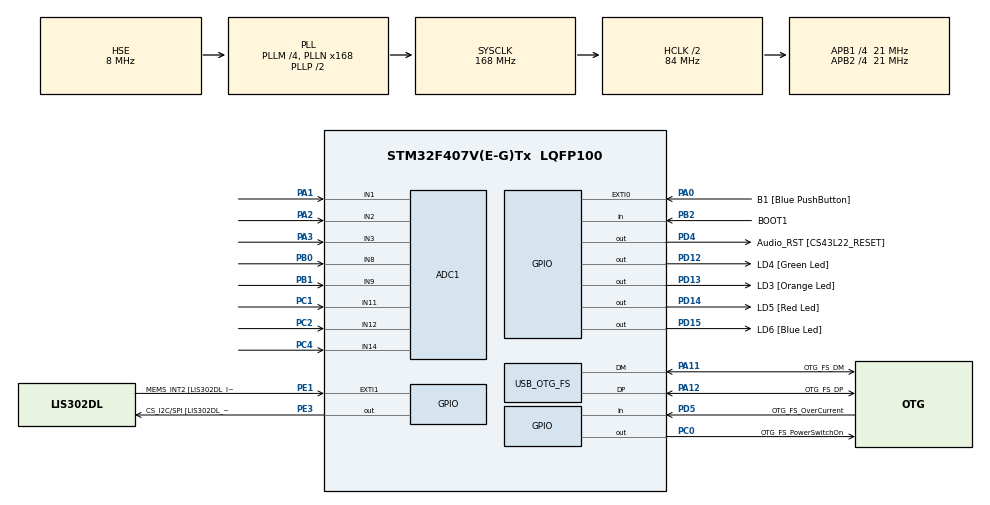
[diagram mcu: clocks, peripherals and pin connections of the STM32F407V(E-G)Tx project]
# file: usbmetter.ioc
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ADC1.Channel-10\#ChannelRegularConversion=ADC_CHANNEL_14
ADC1.Channel-3\#ChannelRegularConversion=ADC_CHANNEL_1
ADC1.Channel-4\#ChannelRegularConversion=ADC_CHANNEL_2
ADC1.Channel-5\#ChannelRegularConversion=ADC_CHANNEL_3
ADC1.Channel-6\#ChannelRegularConversion=ADC_CHANNEL_8
ADC1.Channel-7\#ChannelRegularConversion=ADC_CHANNEL_9
ADC1.Channel-8\#ChannelRegularConversion=ADC_CHANNEL_11
ADC1.Channel-9\#ChannelRegularConversion=ADC_CHANNEL_12
ADC1.ClockPrescaler=ADC_CLOCK_SYNC_PCLK_DIV8
ADC1.ContinuousConvMode=DISABLE
ADC1.EOCSelection=ADC_EOC_SINGLE_CONV
ADC1.NbrOfConversion=8
ADC1.NbrOfConversionFlag=1
ADC1.Rank-10\#ChannelRegularConversion=8
ADC1.Rank-3\#ChannelRegularConversion=1
ADC1.Rank-4\#ChannelRegularConversion=2
ADC1.Rank-5\#ChannelRegularConversion=3
ADC1.Rank-6\#ChannelRegularConversion=4
ADC1.Rank-7\#ChannelRegularConversion=5
ADC1.Rank-8\#ChannelRegularConversion=6
ADC1.Rank-9\#ChannelRegularConversion=7
ADC1.SamplingTime-10\#ChannelRegularConversion=ADC_SAMPLETIME_84CYCLES
ADC1.SamplingTime-3\#ChannelRegularConversion=ADC_SAMPLETIME_84CYCLES
ADC1.SamplingTime-4\#ChannelRegularConversion=ADC_SAMPLETIME_84CYCLES
ADC1.SamplingTime-5\#ChannelRegularConversion=ADC_SAMPLETIME_84CYCLES
ADC1.SamplingTime-6\#ChannelRegularConversion=ADC_SAMPLETIME_84CYCLES
ADC1.SamplingTime-7\#ChannelRegularConversion=ADC_SAMPLETIME_84CYCLES
ADC1.SamplingTime-8\#ChannelRegularConversion=ADC_SAMPLETIME_84CYCLES
ADC1.SamplingTime-9\#ChannelRegularConversion=ADC_SAMPLETIME_84CYCLES
ADC1.master=1
Mcu.Family=STM32F4
Mcu.Name=STM32F407V(E-G)Tx
Mcu.Package=LQFP100
NVIC.ADC_IRQn=true\:0\:0\:false\:false\:true\:true\:true\:true
NVIC.OTG_FS_IRQn=true\:0\:0\:false\:false\:true\:false\:true\:true
NVIC.PriorityGroup=NVIC_PRIORITYGROUP_0
PA0-WKUP.GPIO_Label=B1 [Blue PushButton]
PA0-WKUP.Signal=GPXTI0
PA1.Signal=ADCx_IN1
PA10.GPIO_Label=OTG_FS_ID
PA10.GPIO_Mode=GPIO_MODE_AF_PP
PA10.GPIO_PuPd=GPIO_NOPULL
PA10.GPIO_Speed=GPIO_SPEED_FREQ_LOW
PA10.Signal=USB_OTG_FS_ID
PA11.GPIO_Label=OTG_FS_DM
PA11.GPIO_Mode=GPIO_MODE_AF_PP
PA11.GPIO_PuPd=GPIO_NOPULL
PA11.GPIO_Speed=GPIO_SPEED_FREQ_LOW
PA11.Mode=Device_Only
PA11.Signal=USB_OTG_FS_DM
PA12.GPIO_Label=OTG_FS_DP
PA12.GPIO_Mode=GPIO_MODE_AF_PP
PA12.GPIO_PuPd=GPIO_NOPULL
PA12.GPIO_Speed=GPIO_SPEED_FREQ_LOW
PA12.Mode=Device_Only
PA12.Signal=USB_OTG_FS_DP
PA13.GPIO_Label=SWDIO
PA13.Signal=SYS_JTMS-SWDIO
PA14.GPIO_Label=SWCLK
PA14.Signal=SYS_JTCK-SWCLK
PA2.Signal=ADCx_IN2
PA3.Signal=ADCx_IN3
PA4.GPIO_Label=I2S3_WS [CS43L22_LRCK]
PA4.GPIO_Mode=GPIO_MODE_AF_PP
PA4.GPIO_PuPd=GPIO_NOPULL
PA4.GPIO_Speed=GPIO_SPEED_FREQ_LOW
PA4.Signal=I2S3_WS
PA5.GPIO_Label=SPI1_SCK [LIS302DL_SCL/SPC]
PA5.GPIO_Mode=GPIO_MODE_AF_PP
PA5.GPIO_PuPd=GPIO_NOPULL
PA5.GPIO_Speed=GPIO_SPEED_FREQ_LOW
PA5.Signal=SPI1_SCK
PA6.GPIO_Label=SPI1_MISO [LIS302DL_SDO]
PA6.GPIO_Mode=GPIO_MODE_AF_PP
PA6.GPIO_PuPd=GPIO_NOPULL
PA6.GPIO_Speed=GPIO_SPEED_FREQ_LOW
PA6.Signal=SPI1_MISO
PA7.GPIO_Label=SPI1_MOSI [LIS302DL_SDA/SDI/SDO]
PA7.GPIO_Mode=GPIO_MODE_AF_PP
PA7.GPIO_PuPd=GPIO_NOPULL
PA7.GPIO_Speed=GPIO_SPEED_FREQ_LOW
PA7.Signal=SPI1_MOSI
PA9.GPIO_Label=VBUS_FS
PA9.GPIO_Mode=GPIO_MODE_INPUT
PA9.GPIO_PuPd=GPIO_NOPULL
PA9.Signal=USB_OTG_FS_VBUS
PB0.Signal=ADCx_IN8
PB1.Signal=ADCx_IN9
PB10.GPIO_Label=CLK_IN [MP45DT02_CLK]
PB10.GPIO_Mode=GPIO_MODE_AF_PP
PB10.GPIO_PuPd=GPIO_NOPULL
PB10.GPIO_Speed=GPIO_SPEED_FREQ_LOW
PB10.Signal=I2S2_CK
PB2.GPIO_Label=BOOT1
PB2.GPIO_Mode=GPIO_MODE_INPUT
PB2.GPIO_PuPd=GPIO_NOPULL
PB2.Signal=GPIO_Input
PB3.GPIO_Label=SWO
PB3.Signal=SYS_JTDO-SWO
PB6.GPIO_Label=Audio_SCL [CS43L22_SCL]
PB6.GPIO_Mode=GPIO_MODE_AF_OD
PB6.GPIO_PuPd=GPIO_NOPULL
PB6.GPIO_Speed=GPIO_SPEED_FREQ_LOW
PB6.Signal=I2C1_SCL
PB9.GPIO_Label=Audio_SDA [CS43L22_SDA]
PB9.GPIO_Mode=GPIO_MODE_AF_OD
PB9.GPIO_PuPd=GPIO_NOPULL
PB9.GPIO_Speed=GPIO_SPEED_FREQ_LOW
PB9.Signal=I2C1_SDA
PC0.GPIO_Label=OTG_FS_PowerSwitchOn
PC0.GPIO_PuPd=GPIO_NOPULL
PC0.GPIO_Speed=GPIO_SPEED_FREQ_LOW
PC0.PinState=GPIO_PIN_SET
PC0.Signal=GPIO_Output
PC1.Signal=ADCx_IN11
PC10.GPIO_Label=I2S3_SCK [CS43L22_SCLK]
PC10.GPIO_Mode=GPIO_MODE_AF_PP
PC10.GPIO_PuPd=GPIO_NOPULL
PC10.GPIO_Speed=GPIO_SPEED_FREQ_LOW
PC10.Signal=I2S3_CK
PC12.GPIO_Label=I2S3_SD [CS43L22_SDIN]
PC12.GPIO_Mode=GPIO_MODE_AF_PP
PC12.GPIO_PuPd=GPIO_NOPULL
PC12.GPIO_Speed=GPIO_SPEED_FREQ_LOW
PC12.Signal=I2S3_SD
PC14-OSC32_IN.GPIO_Label=PC14-OSC32_IN
PC14-OSC32_IN.Signal=RCC_OSC32_IN
PC15-OSC32_OUT.GPIO_Label=PC15-OSC32_OUT
PC15-OSC32_OUT.Signal=RCC_OSC32_OUT
PC2.Signal=ADCx_IN12
PC3.GPIO_Label=PDM_OUT [MP45DT02_DOUT]
PC3.GPIO_Mode=GPIO_MODE_AF_PP
PC3.GPIO_PuPd=GPIO_NOPULL
PC3.GPIO_Speed=GPIO_SPEED_FREQ_LOW
PC3.Signal=I2S2_SD
PC4.Signal=ADCx_IN14
PC7.GPIO_Label=I2S3_MCK [CS43L22_MCLK]
PC7.GPIO_Mode=GPIO_MODE_AF_PP
PC7.GPIO_PuPd=GPIO_NOPULL
PC7.GPIO_Speed=GPIO_SPEED_FREQ_LOW
PC7.Signal=I2S3_MCK
PD12.GPIO_Label=LD4 [Green Led]
PD12.GPIO_PuPd=GPIO_NOPULL
PD12.GPIO_Speed=GPIO_SPEED_FREQ_LOW
PD12.Signal=GPIO_Output
PD13.GPIO_Label=LD3 [Orange Led]
PD13.GPIO_PuPd=GPIO_NOPULL
PD13.GPIO_Speed=GPIO_SPEED_FREQ_LOW
PD13.Signal=GPIO_Output
PD14.GPIO_Label=LD5 [Red Led]
PD14.GPIO_PuPd=GPIO_NOPULL
PD14.GPIO_Speed=GPIO_SPEED_FREQ_LOW
PD14.Signal=GPIO_Output
PD15.GPIO_Label=LD6 [Blue Led]
PD15.GPIO_PuPd=GPIO_NOPULL
PD15.GPIO_Speed=GPIO_SPEED_FREQ_LOW
PD15.Signal=GPIO_Output
PD4.GPIO_Label=Audio_RST [CS43L22_RESET]
PD4.GPIO_PuPd=GPIO_NOPULL
PD4.GPIO_Speed=GPIO_SPEED_FREQ_LOW
PD4.Signal=GPIO_Output
PD5.GPIO_Label=OTG_FS_OverCurrent
PD5.GPIO_Mode=GPIO_MODE_INPUT
PD5.GPIO_PuPd=GPIO_NOPULL
PD5.Signal=GPIO_Input
PE1.GPIO_Label=MEMS_INT2 [LIS302DL_INT2]
PE1.GPIO_ModeDefaultEXTI=GPIO_MODE_EVT_RISING
PE1.GPIO_PuPd=GPIO_NOPULL
PE1.Signal=GPXTI1
PE3.GPIO_Label=CS_I2C/SPI [LIS302DL_CS_I2C/SPI]
PE3.GPIO_PuPd=GPIO_NOPULL
PE3.GPIO_Speed=GPIO_SPEED_FREQ_LOW
PE3.Signal=GPIO_Output
PH0-OSC_IN.GPIO_Label=PH0-OSC_IN
PH0-OSC_IN.Mode=HSE-External-Oscillator
PH0-OSC_IN.Signal=RCC_OSC_IN
PH1-OSC_OUT.GPIO_Label=PH1-OSC_OUT
PH1-OSC_OUT.Mode=HSE-External-Oscillator
PH1-OSC_OUT.Signal=RCC_OSC_OUT
ProjectManager.HeapSize=0x200
ProjectManager.StackSize=0x400
ProjectManager.TargetToolchain=STM32CubeIDE
RCC.48MHZClocksFreq_Value=48000000
RCC.AHBCLKDivider=RCC_SYSCLK_DIV2
RCC.AHBFreq_Value=84000000
RCC.APB1CLKDivider=RCC_HCLK_DIV4
RCC.APB1Freq_Value=21000000
RCC.APB1TimFreq_Value=42000000
RCC.APB2CLKDivider=RCC_HCLK_DIV4
RCC.APB2Freq_Value=21000000
RCC.APB2TimFreq_Value=42000000
RCC.CortexFreq_Value=84000000
RCC.HCLKFreq_Value=84000000
RCC.HSE_VALUE=8000000
RCC.HSI_VALUE=16000000
RCC.LSE_VALUE=32768
RCC.PLLM=4
RCC.PLLN=168
RCC.PLLQ=7
RCC.SYSCLKFreq_VALUE=168000000
RCC.SYSCLKSource=RCC_SYSCLKSOURCE_PLLCLK
RCC.VCOOutputFreq_Value=336000000
SH.ADCx_IN1.0=ADC1_IN1,IN1
SH.ADCx_IN11.0=ADC1_IN11,IN11
SH.ADCx_IN12.0=ADC1_IN12,IN12
SH.ADCx_IN14.0=ADC1_IN14,IN14
SH.ADCx_IN2.0=ADC1_IN2,IN2
SH.ADCx_IN3.0=ADC1_IN3,IN3
SH.ADCx_IN8.0=ADC1_IN8,IN8
SH.ADCx_IN9.0=ADC1_IN9,IN9
USB_DEVICE.CLASS_NAME_FS=CDC
USB_DEVICE.USBD_SELF_POWERED-CDC_FS=0
USB_DEVICE.VirtualMode-CDC_FS=Cdc
USB_DEVICE.VirtualModeFS=Cdc_FS
USB_OTG_FS.VirtualMode=Device_Only
VP_USB_DEVICE_VS_USB_DEVICE_CDC_FS.Mode=CDC_FS
board=STM32F407G-DISC1

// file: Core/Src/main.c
/* USER CODE BEGIN Header */
/**
  ******************************************************************************
  * @file           : main.c
  * @brief          : Main program body
  ******************************************************************************
  * @attention
  *
  * Copyright (c) 2024 STMicroelectronics.
  * All rights reserved.
  *
  * This software is licensed under terms that can be found in the LICENSE file
  * in the root directory of this software component.
  * If no LICENSE file comes with this software, it is provided AS-IS.
  *
  ******************************************************************************
  */
/* USER CODE END Header */
#include "main.h"
#include "usb_device.h"

/* USER CODE BEGIN Includes */
#include <stdbool.h>
#include "usbd_cdc_if.h"
/* USER CODE END Includes */

ADC_HandleTypeDef hadc1;

void SystemClock_Config(void);
static void MX_GPIO_Init(void);
static void MX_ADC1_Init(void);

/* USER CODE BEGIN 0 */

static uint32_t tick_hi = 0;
static uint32_t tick_prev = 0;
static uint64_t tick64;
static const uint64_t PERIOD = 1000;
static bool is_update = false;
static volatile uint32_t samples[8];
static volatile int sample_index;

static void calc_time() {
	uint32_t tick = HAL_GetTick();
	if (tick < tick_prev) {
		tick_hi++;
	}
	tick_prev = tick;
	uint64_t v = ((uint64_t)tick_hi << 32) | (uint64_t)tick_prev;
	is_update = (v / PERIOD) != (tick64 / PERIOD);
	tick64 = v;
}

uint32_t HAL_ADC_GetValue(ADC_HandleTypeDef* hadc);

void HAL_ADC_ConvCpltCallback(ADC_HandleTypeDef* hadc)
{
	int index = sample_index;
	samples[index] += HAL_ADC_GetValue(hadc);
	sample_index = index + 1;
}
/* USER CODE END 0 */

int main(void)
{

  /* MCU Configuration--------------------------------------------------------*/

  /* Reset of all peripherals, Initializes the Flash interface and the Systick. */
  HAL_Init();

  /* Configure the system clock */
  SystemClock_Config();

  /* Initialize all configured peripherals */
  MX_GPIO_Init();
  MX_USB_DEVICE_Init();
  MX_ADC1_Init();

  /* Infinite loop */
  /* USER CODE BEGIN WHILE */
  while (1)
  {
	calc_time();
	if (is_update) {
		static char buffer[128];
		char* ptr = buffer;
		uint32_t start = HAL_GetTick();
		for (int i = 0; i < sizeof(samples) / sizeof(samples[0]); i++) {
			samples[i] = 0;
		}
		memset((void*)samples, 0, sizeof(samples));
		for (int i = 0; i < 16; i++) {
			HAL_ADC_PollForConversion(&hadc1, 10);
			sample_index = 0;
			HAL_ADC_Start_IT(&hadc1);
			while (sample_index < 8) {
				__WFI();
			}
		}
		uint32_t end = HAL_GetTick();
		//ptr += sprintf(ptr, "Test %d   %d   %d\r\n", (int)tick64, sample_index, (int)(end - start));
		for (int i = 0; i < sample_index; i++) {
			ptr += sprintf(ptr, "%d, ", (int)samples[i]);
		}
		strcat(ptr, "\r\n");
		CDC_Transmit_FS((uint8_t*)buffer, strlen(buffer));
	} else {
		__WFI();
	}
    /* USER CODE END WHILE */

  }
}

void SystemClock_Config(void)
{
  RCC_OscInitTypeDef RCC_OscInitStruct = {0};
  RCC_ClkInitTypeDef RCC_ClkInitStruct = {0};

  /** Configure the main internal regulator output voltage
  */
  __HAL_RCC_PWR_CLK_ENABLE();
  __HAL_PWR_VOLTAGESCALING_CONFIG(PWR_REGULATOR_VOLTAGE_SCALE1);

  /** Initializes the RCC Oscillators according to the specified parameters
  * in the RCC_OscInitTypeDef structure.
  */
  RCC_OscInitStruct.OscillatorType = RCC_OSCILLATORTYPE_HSE;
  RCC_OscInitStruct.HSEState = RCC_HSE_ON;
  RCC_OscInitStruct.PLL.PLLState = RCC_PLL_ON;
  RCC_OscInitStruct.PLL.PLLSource = RCC_PLLSOURCE_HSE;
  RCC_OscInitStruct.PLL.PLLM = 4;
  RCC_OscInitStruct.PLL.PLLN = 168;
  RCC_OscInitStruct.PLL.PLLP = RCC_PLLP_DIV2;
  RCC_OscInitStruct.PLL.PLLQ = 7;
  if (HAL_RCC_OscConfig(&RCC_OscInitStruct) != HAL_OK)
  {
    Error_Handler();
  }

  /** Initializes the CPU, AHB and APB buses clocks
  */
  RCC_ClkInitStruct.ClockType = RCC_CLOCKTYPE_HCLK|RCC_CLOCKTYPE_SYSCLK
                              |RCC_CLOCKTYPE_PCLK1|RCC_CLOCKTYPE_PCLK2;
  RCC_ClkInitStruct.SYSCLKSource = RCC_SYSCLKSOURCE_PLLCLK;
  RCC_ClkInitStruct.AHBCLKDivider = RCC_SYSCLK_DIV2;
  RCC_ClkInitStruct.APB1CLKDivider = RCC_HCLK_DIV4;
  RCC_ClkInitStruct.APB2CLKDivider = RCC_HCLK_DIV4;

  if (HAL_RCC_ClockConfig(&RCC_ClkInitStruct, FLASH_LATENCY_2) != HAL_OK)
  {
    Error_Handler();
  }
}

static void MX_ADC1_Init(void)
{

  ADC_ChannelConfTypeDef sConfig = {0};

  /** Configure the global features of the ADC (Clock, Resolution, Data Alignment and number of conversion)
  */
  hadc1.Instance = ADC1;
  hadc1.Init.ClockPrescaler = ADC_CLOCK_SYNC_PCLK_DIV8;
  hadc1.Init.Resolution = ADC_RESOLUTION_12B;
  hadc1.Init.ScanConvMode = ENABLE;
  hadc1.Init.ContinuousConvMode = DISABLE;
  hadc1.Init.DiscontinuousConvMode = DISABLE;
  hadc1.Init.ExternalTrigConvEdge = ADC_EXTERNALTRIGCONVEDGE_NONE;
  hadc1.Init.ExternalTrigConv = ADC_SOFTWARE_START;
  hadc1.Init.DataAlign = ADC_DATAALIGN_RIGHT;
  hadc1.Init.NbrOfConversion = 8;
  hadc1.Init.DMAContinuousRequests = DISABLE;
  hadc1.Init.EOCSelection = ADC_EOC_SINGLE_CONV;
  if (HAL_ADC_Init(&hadc1) != HAL_OK)
  {
    Error_Handler();
  }

  /** Configure for the selected ADC regular channel its corresponding rank in the sequencer and its sample time.
  */
  sConfig.Channel = ADC_CHANNEL_1;
  sConfig.Rank = 1;
  sConfig.SamplingTime = ADC_SAMPLETIME_84CYCLES;
  if (HAL_ADC_ConfigChannel(&hadc1, &sConfig) != HAL_OK)
  {
    Error_Handler();
  }

  /** Configure for the selected ADC regular channel its corresponding rank in the sequencer and its sample time.
  */
  sConfig.Channel = ADC_CHANNEL_2;
  sConfig.Rank = 2;
  if (HAL_ADC_ConfigChannel(&hadc1, &sConfig) != HAL_OK)
  {
    Error_Handler();
  }

  /** Configure for the selected ADC regular channel its corresponding rank in the sequencer and its sample time.
  */
  sConfig.Channel = ADC_CHANNEL_3;
  sConfig.Rank = 3;
  if (HAL_ADC_ConfigChannel(&hadc1, &sConfig) != HAL_OK)
  {
    Error_Handler();
  }

  /** Configure for the selected ADC regular channel its corresponding rank in the sequencer and its sample time.
  */
  sConfig.Channel = ADC_CHANNEL_8;
  sConfig.Rank = 4;
  if (HAL_ADC_ConfigChannel(&hadc1, &sConfig) != HAL_OK)
  {
    Error_Handler();
  }

  /** Configure for the selected ADC regular channel its corresponding rank in the sequencer and its sample time.
  */
  sConfig.Channel = ADC_CHANNEL_9;
  sConfig.Rank = 5;
  if (HAL_ADC_ConfigChannel(&hadc1, &sConfig) != HAL_OK)
  {
    Error_Handler();
  }

  /** Configure for the selected ADC regular channel its corresponding rank in the sequencer and its sample time.
  */
  sConfig.Channel = ADC_CHANNEL_11;
  sConfig.Rank = 6;
  if (HAL_ADC_ConfigChannel(&hadc1, &sConfig) != HAL_OK)
  {
    Error_Handler();
  }

  /** Configure for the selected ADC regular channel its corresponding rank in the sequencer and its sample time.
  */
  sConfig.Channel = ADC_CHANNEL_12;
  sConfig.Rank = 7;
  if (HAL_ADC_ConfigChannel(&hadc1, &sConfig) != HAL_OK)
  {
    Error_Handler();
  }

  /** Configure for the selected ADC regular channel its corresponding rank in the sequencer and its sample time.
  */
  sConfig.Channel = ADC_CHANNEL_14;
  sConfig.Rank = 8;
  if (HAL_ADC_ConfigChannel(&hadc1, &sConfig) != HAL_OK)
  {
    Error_Handler();
  }

}

static void MX_GPIO_Init(void)
{
  GPIO_InitTypeDef GPIO_InitStruct = {0};

  /* GPIO Ports Clock Enable */
  __HAL_RCC_GPIOE_CLK_ENABLE();
  __HAL_RCC_GPIOC_CLK_ENABLE();
  __HAL_RCC_GPIOH_CLK_ENABLE();
  __HAL_RCC_GPIOA_CLK_ENABLE();
  __HAL_RCC_GPIOB_CLK_ENABLE();
  __HAL_RCC_GPIOD_CLK_ENABLE();

  /*Configure GPIO pin Output Level */
  HAL_GPIO_WritePin(CS_I2C_SPI_GPIO_Port, CS_I2C_SPI_Pin, GPIO_PIN_RESET);

  /*Configure GPIO pin Output Level */
  HAL_GPIO_WritePin(OTG_FS_PowerSwitchOn_GPIO_Port, OTG_FS_PowerSwitchOn_Pin, GPIO_PIN_SET);

  /*Configure GPIO pin Output Level */
  HAL_GPIO_WritePin(GPIOD, LD4_Pin|LD3_Pin|LD5_Pin|LD6_Pin
                          |Audio_RST_Pin, GPIO_PIN_RESET);

  /*Configure GPIO pin : CS_I2C_SPI_Pin */
  GPIO_InitStruct.Pin = CS_I2C_SPI_Pin;
  GPIO_InitStruct.Mode = GPIO_MODE_OUTPUT_PP;
  GPIO_InitStruct.Pull = GPIO_NOPULL;
  GPIO_InitStruct.Speed = GPIO_SPEED_FREQ_LOW;
  HAL_GPIO_Init(CS_I2C_SPI_GPIO_Port, &GPIO_InitStruct);

  /*Configure GPIO pin : OTG_FS_PowerSwitchOn_Pin */
  GPIO_InitStruct.Pin = OTG_FS_PowerSwitchOn_Pin;
  GPIO_InitStruct.Mode = GPIO_MODE_OUTPUT_PP;
  GPIO_InitStruct.Pull = GPIO_NOPULL;
  GPIO_InitStruct.Speed = GPIO_SPEED_FREQ_LOW;
  HAL_GPIO_Init(OTG_FS_PowerSwitchOn_GPIO_Port, &GPIO_InitStruct);

  /*Configure GPIO pin : PDM_OUT_Pin */
  GPIO_InitStruct.Pin = PDM_OUT_Pin;
  GPIO_InitStruct.Mode = GPIO_MODE_AF_PP;
  GPIO_InitStruct.Pull = GPIO_NOPULL;
  GPIO_InitStruct.Speed = GPIO_SPEED_FREQ_LOW;
  GPIO_InitStruct.Alternate = GPIO_AF5_SPI2;
  HAL_GPIO_Init(PDM_OUT_GPIO_Port, &GPIO_InitStruct);

  /*Configure GPIO pin : B1_Pin */
  GPIO_InitStruct.Pin = B1_Pin;
  GPIO_InitStruct.Mode = GPIO_MODE_IT_RISING;
  GPIO_InitStruct.Pull = GPIO_NOPULL;
  HAL_GPIO_Init(B1_GPIO_Port, &GPIO_InitStruct);

  /*Configure GPIO pin : I2S3_WS_Pin */
  GPIO_InitStruct.Pin = I2S3_WS_Pin;
  GPIO_InitStruct.Mode = GPIO_MODE_AF_PP;
  GPIO_InitStruct.Pull = GPIO_NOPULL;
  GPIO_InitStruct.Speed = GPIO_SPEED_FREQ_LOW;
  GPIO_InitStruct.Alternate = GPIO_AF6_SPI3;
  HAL_GPIO_Init(I2S3_WS_GPIO_Port, &GPIO_InitStruct);

  /*Configure GPIO pins : SPI1_SCK_Pin SPI1_MISO_Pin SPI1_MOSI_Pin */
  GPIO_InitStruct.Pin = SPI1_SCK_Pin|SPI1_MISO_Pin|SPI1_MOSI_Pin;
  GPIO_InitStruct.Mode = GPIO_MODE_AF_PP;
  GPIO_InitStruct.Pull = GPIO_NOPULL;
  GPIO_InitStruct.Speed = GPIO_SPEED_FREQ_LOW;
  GPIO_InitStruct.Alternate = GPIO_AF5_SPI1;
  HAL_GPIO_Init(GPIOA, &GPIO_InitStruct);

  /*Configure GPIO pin : BOOT1_Pin */
  GPIO_InitStruct.Pin = BOOT1_Pin;
  GPIO_InitStruct.Mode = GPIO_MODE_INPUT;
  GPIO_InitStruct.Pull = GPIO_NOPULL;
  HAL_GPIO_Init(BOOT1_GPIO_Port, &GPIO_InitStruct);

  /*Configure GPIO pin : CLK_IN_Pin */
  GPIO_InitStruct.Pin = CLK_IN_Pin;
  GPIO_InitStruct.Mode = GPIO_MODE_AF_PP;
  GPIO_InitStruct.Pull = GPIO_NOPULL;
  GPIO_InitStruct.Speed = GPIO_SPEED_FREQ_LOW;
  GPIO_InitStruct.Alternate = GPIO_AF5_SPI2;
  HAL_GPIO_Init(CLK_IN_GPIO_Port, &GPIO_InitStruct);

  /*Configure GPIO pins : LD4_Pin LD3_Pin LD5_Pin LD6_Pin
                           Audio_RST_Pin */
  GPIO_InitStruct.Pin = LD4_Pin|LD3_Pin|LD5_Pin|LD6_Pin
                          |Audio_RST_Pin;
  GPIO_InitStruct.Mode = GPIO_MODE_OUTPUT_PP;
  GPIO_InitStruct.Pull = GPIO_NOPULL;
  GPIO_InitStruct.Speed = GPIO_SPEED_FREQ_LOW;
  HAL_GPIO_Init(GPIOD, &GPIO_InitStruct);

  /*Configure GPIO pins : I2S3_MCK_Pin I2S3_SCK_Pin I2S3_SD_Pin */
  GPIO_InitStruct.Pin = I2S3_MCK_Pin|I2S3_SCK_Pin|I2S3_SD_Pin;
  GPIO_InitStruct.Mode = GPIO_MODE_AF_PP;
  GPIO_InitStruct.Pull = GPIO_NOPULL;
  GPIO_InitStruct.Speed = GPIO_SPEED_FREQ_LOW;
  GPIO_InitStruct.Alternate = GPIO_AF6_SPI3;
  HAL_GPIO_Init(GPIOC, &GPIO_InitStruct);

  /*Configure GPIO pin : OTG_FS_OverCurrent_Pin */
  GPIO_InitStruct.Pin = OTG_FS_OverCurrent_Pin;
  GPIO_InitStruct.Mode = GPIO_MODE_INPUT;
  GPIO_InitStruct.Pull = GPIO_NOPULL;
  HAL_GPIO_Init(OTG_FS_OverCurrent_GPIO_Port, &GPIO_InitStruct);

  /*Configure GPIO pins : Audio_SCL_Pin Audio_SDA_Pin */
  GPIO_InitStruct.Pin = Audio_SCL_Pin|Audio_SDA_Pin;
  GPIO_InitStruct.Mode = GPIO_MODE_AF_OD;
  GPIO_InitStruct.Pull = GPIO_NOPULL;
  GPIO_InitStruct.Speed = GPIO_SPEED_FREQ_LOW;
  GPIO_InitStruct.Alternate = GPIO_AF4_I2C1;
  HAL_GPIO_Init(GPIOB, &GPIO_InitStruct);

  /*Configure GPIO pin : MEMS_INT2_Pin */
  GPIO_InitStruct.Pin = MEMS_INT2_Pin;
  GPIO_InitStruct.Mode = GPIO_MODE_EVT_RISING;
  GPIO_InitStruct.Pull = GPIO_NOPULL;
  HAL_GPIO_Init(MEMS_INT2_GPIO_Port, &GPIO_InitStruct);

}

void Error_Handler(void)
{
  __disable_irq();
  while (1)
  {
  }
}
